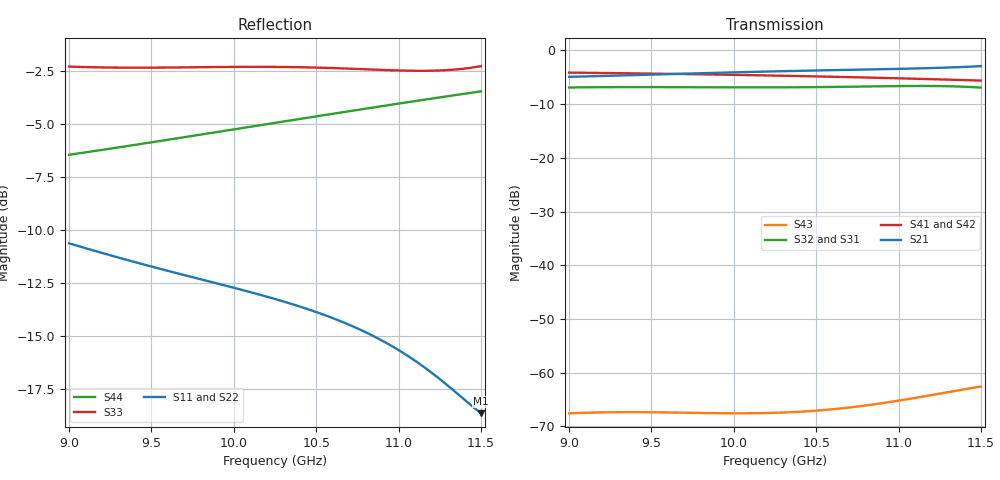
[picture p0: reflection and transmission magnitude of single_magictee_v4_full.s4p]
! Generated from PyAEDT SolutionData; AEDT ExportNetworkData workaround
# GHz S MA R 50
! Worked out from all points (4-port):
!   101 points, 9 GHz to 11.5 GHz, reference 50 ohm
!   strongest paths, dB at 9 GHz, 9.625 GHz, 10.25 GHz, 10.88 GHz, 11.5 GHz:
!     S21: -4.9, -4.4, -3.9, -3.5, -2.9
!     S41: -4.1, -4.4, -4.7, -5.1, -5.6
!     S42: -4.1, -4.4, -4.7, -5.1, -5.6
!     S32: -6.9, -6.8, -6.9, -6.7, -6.9
!     S31: -6.9, -6.8, -6.9, -6.7, -6.9
!     S43: -67.6, -67.4, -67.5, -65.8, -62.6
!   lowest |S11| = -18.6 dB at 11.5 GHz (marker M1), VSWR 1.26, Z = 41.7 - j6.81 ohm
!   |S11| at or under -10 dB: start of sweep to end of sweep
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9  0.2944 133.0  0.5679 -170.0  0.4518 -78.3  0.6219 37.2
   0.5679 -170.0  0.2948 132.9  0.4519 -78.3  0.6216 -142.8
   0.4518 -78.3  0.4519 -78.3  0.7692 -147.9  0.0004186 -100.4
   0.6219 37.2  0.6216 -142.8  0.0004186 -100.4  0.4763 -146.8
9.525  0.258 73.3  0.5971 131.6  0.4555 -166.7  0.6078 -22.6
       0.5971 131.6  0.2587 73.2  0.4556 -166.6  0.6074 157.4
       0.4555 -166.7  0.4556 -166.6  0.7648 91.7  0.0004275 164.2
       0.6078 -22.6  0.6074 157.4  0.0004275 164.2  0.5115 157.7
9.925  0.2353 28.8  0.6207 88.5  0.4532 127.9  0.5949 -66.5
       0.6207 88.5  0.2361 28.9  0.4534 128.0  0.5944 113.4
       0.4532 127.9  0.4534 128.0  0.7675 2.8  0.0004196 98.2
       0.5949 -66.5  0.5944 113.4  0.0004196 98.2  0.541 116.4
10.3  0.2147 -12.8  0.641 48.8  0.4532 67.6  0.5811 -106.8
      0.641 48.8  0.2156 -12.6  0.4535 67.7  0.5805 73.2
      0.4532 67.6  0.4535 67.7  0.7674 -79.2  0.0004258 41.9
      0.5811 -106.8  0.5805 73.2  0.0004258 41.9  0.5705 78.3
10.775  0.1836 -65.6  0.6632 -0.2  0.4605 -9.5  0.5608 -156.8
        0.6632 -0.2  0.1845 -65.4  0.461 -9.4  0.5601 23.2
        0.4605 -9.5  0.461 -9.4  0.7586 173.9  0.0004895 -25.9
        0.5608 -156.8  0.5601 23.2  0.0004895 -25.9  0.6097 30.7
11.15  0.1508 -105.9  0.6824 -37.5  0.466 -73.4  0.5426 164.3
       0.6824 -37.5  0.1517 -105.5  0.4666 -73.3  0.5418 -15.6
       0.466 -73.4  0.4666 -73.3  0.7517 81.5  0.0006 -81.4
       0.5426 164.3  0.5418 -15.6  0.0006 -81.4  0.6419 -6.5
11.5  0.1169 -136.5  0.7137 -71.3  0.45 -137.4  0.5239 128.3
      0.7137 -71.3  0.1178 -135.9  0.4508 -137.2  0.523 -51.6
      0.45 -137.4  0.4508 -137.2  0.7709 -15.3  0.0007435 -137.3
      0.5239 128.3  0.523 -51.6  0.0007435 -137.3  0.6723 -41.0
